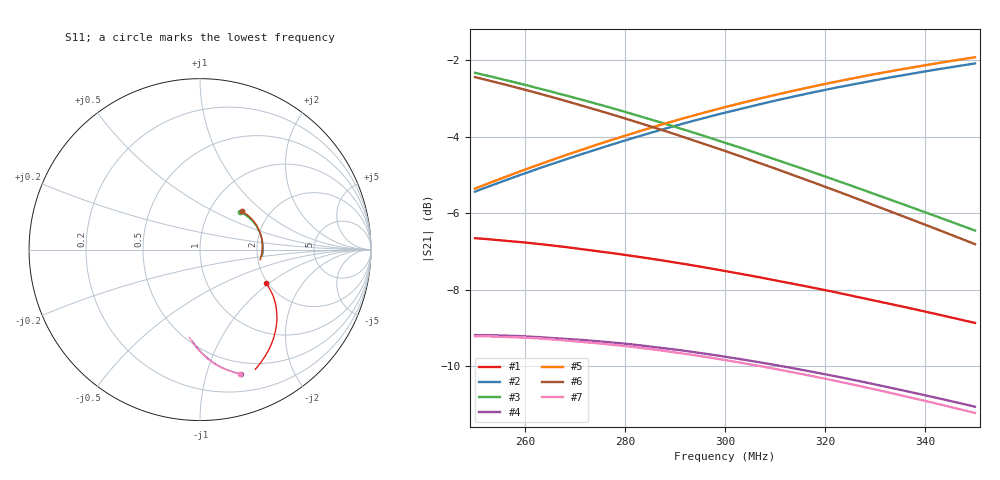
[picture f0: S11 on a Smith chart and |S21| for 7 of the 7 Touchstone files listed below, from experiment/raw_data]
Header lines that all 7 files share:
#  HZ  S  DB  R  50.00
! Rohde & Schwarz Vector Network Analyzer
! Rohde-Schwarz,ZNL3-2Port,1323001203101687,1.37.1.9-20.11.2.22
! freq[Hz]  db:S11  ang:S11  db:S21  ang:S21  db:S12  ang:S12  db:S22  ang:S22
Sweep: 250 MHz to 350 MHz
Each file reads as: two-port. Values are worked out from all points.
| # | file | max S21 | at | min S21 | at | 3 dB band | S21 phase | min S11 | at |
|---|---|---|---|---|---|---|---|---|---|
| 1 | lattice ports 2 3.s2p | -6.66 dB | 250 MHz | -8.9 dB | 350 MHz | 250 MHz-350 MHz | -24 deg at 300 MHz | -7.3 dB | 250 MHz |
| 2 | three_elem ports 1 2.s2p | -2.08 dB | 350 MHz | -5.4 dB | 250 MHz | 257.4 MHz-350 MHz | 50 deg at 300 MHz | -9.9 dB | 250 MHz |
| 3 | three_elem ports 1 3.s2p | -2.33 dB | 250 MHz | -6.5 dB | 350 MHz | 250 MHz-326.1 MHz | -131 deg at 300 MHz | -9.9 dB | 250 MHz |
| 4 | three_elem ports 2 3.s2p | -9.19 dB | 250.5 MHz | -11.1 dB | 350 MHz | 250 MHz-350 MHz | -71 deg at 300 MHz | -5.4 dB | 350 MHz |
| 5 | yu_2 ports 1 2.s2p | -1.92 dB | 350 MHz | -5.4 dB | 250 MHz | 258.9 MHz-350 MHz | 48 deg at 300 MHz | -9.6 dB | 250 MHz |
| 6 | yu_2 ports 1 3.s2p | -2.44 dB | 250 MHz | -6.8 dB | 350 MHz | 250 MHz-322.6 MHz | -136 deg at 300 MHz | -9.6 dB | 250 MHz |
| 7 | yu_2 ports 2 3.s2p | -9.22 dB | 250 MHz | -11.2 dB | 350 MHz | 250 MHz-350 MHz | -75 deg at 300 MHz | -5.7 dB | 350 MHz |
